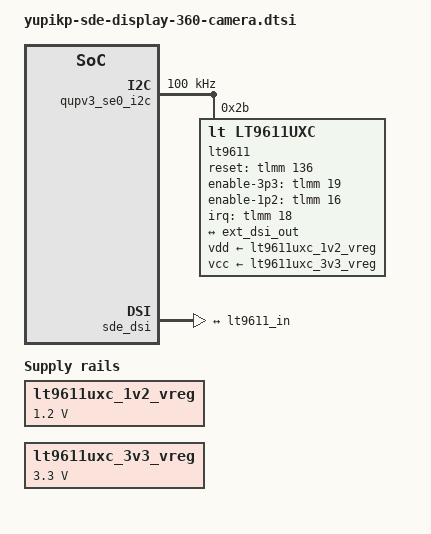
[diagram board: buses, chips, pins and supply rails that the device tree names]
// SPDX-License-Identifier: BSD-3-Clause
/*
 * Copyright (c) Qualcomm Technologies, Inc. and/or its subsidiaries.
 */

#include "yupik-sde-display.dtsi"

/*==============================*/
/*     Display Related Start    */
/*==============================*/
&soc {
	lt9611uxc_1v2_vreg: lt9611uxc_1v2_vreg {
		compatible = "regulator-fixed";
		regulator-name = "lt9611uxc_1v2_vreg";
		regulator-min-microvolt = <1200000>;
		regulator-max-microvolt = <1200000>;
	};

	lt9611uxc_3v3_vreg: lt9611uxc_3v3_vreg {
		compatible = "regulator-fixed";
		regulator-name = "lt9611uxc_3v3_vreg";
		regulator-min-microvolt = <3300000>;
		regulator-max-microvolt = <3300000>;
	};
};

&qupv3_se0_i2c {
	clock-frequency = <100000>;
	status = "okay";

	lt9611: lt,lt9611@2b {
		compatible = "lt,lt9611uxc";
		reg = <0x2b>;

		interrupt-names = "lt_irq";
		interrupts-extended = <&tlmm 18 0x0>;
		reset-gpios = <&tlmm 136 0>;
		enable-3p3-gpios = <&tlmm 19 0>; 	/* 3V3 enable */
		enable-1p2-gpios = <&tlmm 16 0>; 	/* 1V2 enable */

		lt,cont-splash-en;
		vdd-supply = <&lt9611uxc_1v2_vreg>;
		vcc-supply = <&lt9611uxc_3v3_vreg>;

		lt,preferred-mode = "3840x2160";

		ports {
			#address-cells = <1>;
			#size-cells = <0>;

			port@0 {
				reg = <0>;

				lt9611_in: endpoint {
					remote-endpoint = <&ext_dsi_out>;
				};
			};
		};

	};
};

&dsi_ext_bridge_1080p {
	qcom,mdss-dsi-ext-bridge-hpd;
};

&dsi_ext_bridge_4k30p {
	qcom,mdss-dsi-ext-bridge-hpd;
	qcom,dsi-select-clocks = "pll_byte_clk0", "pll_dsi_clk0";
};

&sde_dsi {
	/delete-property/ lab-supply;
	/delete-property/ ibb-supply;

	qcom,dsi-default-panel = <&dsi_ext_bridge_4k30p>;
	boot-panel-param = "disabled";

	ports {
		#address-cells = <1>;
		#size-cells = <0>;

		port@0 {
			reg = <0>;
			ext_dsi_out: endpoint {
				remote-endpoint = <&lt9611_in>;
			};
		};
	};
};

&fsa4480 {
	status = "disabled";
};

&sde_wb {
	status = "disabled";
};

&mdss_mdp {
	connectors = <&smmu_sde_unsec &smmu_sde_sec &sde_dsi &sde_rscc>;
};
